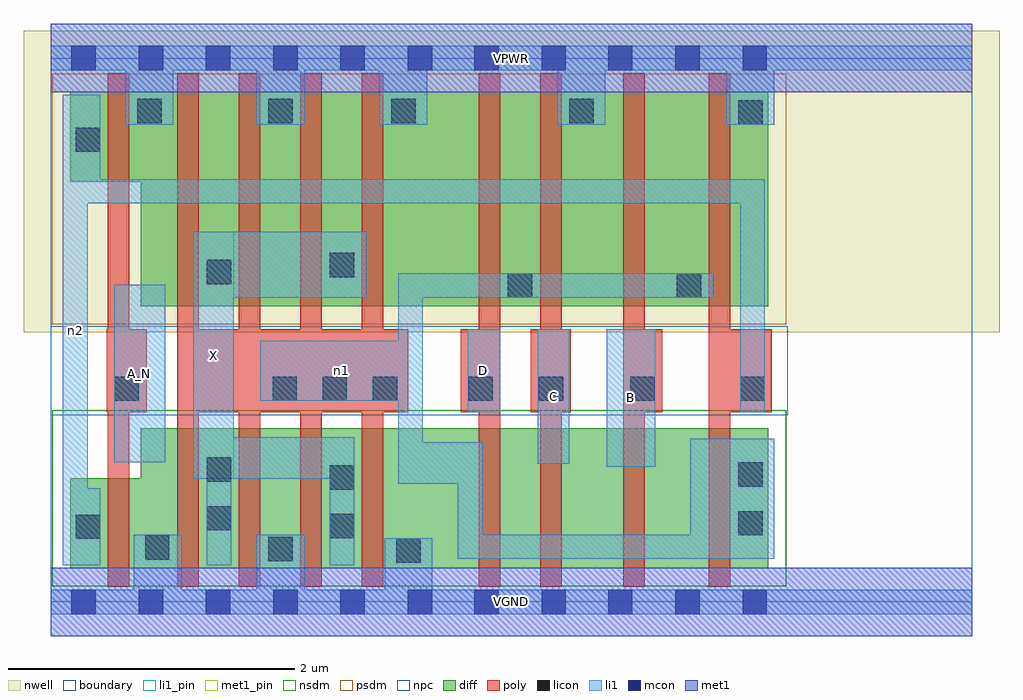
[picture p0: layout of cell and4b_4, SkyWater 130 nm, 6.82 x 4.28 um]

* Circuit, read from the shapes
.subckt and4b_4 A_N B C D VGND VPWR X n1 n2
XM1 VGND A_N n2 VSUBS sky130_fd_pr__nfet_01v8 w=0.63 l=0.15
XM2 X n1 VGND VSUBS sky130_fd_pr__nfet_01v8 w=0.98 l=0.15 m=4
XM3 n3 D VGND VSUBS sky130_fd_pr__nfet_01v8 w=0.98 l=0.15
XM4 n4 C n3 VSUBS sky130_fd_pr__nfet_01v8 w=0.98 l=0.15
XM5 n5 B n4 VSUBS sky130_fd_pr__nfet_01v8 w=0.98 l=0.15
XM6 n1 n2 n5 VSUBS sky130_fd_pr__nfet_01v8 w=0.98 l=0.15
XM7 VPWR A_N n2 n6 sky130_fd_pr__pfet_01v8 w=0.63 l=0.15
XM8 X n1 VPWR n6 sky130_fd_pr__pfet_01v8 w=1.5 l=0.15 m=4
XM9 n1 D VPWR n6 sky130_fd_pr__pfet_01v8 w=1.5 l=0.15
XM10 VPWR C n1 n6 sky130_fd_pr__pfet_01v8 w=1.5 l=0.15
XM11 n1 B VPWR n6 sky130_fd_pr__pfet_01v8 w=1.5 l=0.15
XM12 VPWR n2 n1 n6 sky130_fd_pr__pfet_01v8 w=1.5 l=0.15
.ends

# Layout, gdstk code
import gdstk
lib = gdstk.Library(unit=1e-6, precision=1e-09)
def R(c, l, rs):  # rectangles x0, y0, x1, y1
    for r in rs: c.add(gdstk.rectangle(r[:2], r[2:], *l))
def A(c, l, x, y, w, h, nx, ny, dx, dy):  # array of equal rectangles
    R(c, l, [(x+i*dx, y+j*dy, x+i*dx+w, y+j*dy+h) for i in range(nx) for j in range(ny)])
nwell = (64, 20)
diff = (65, 20)
poly = (66, 20)
licon = (66, 44)
li1_pin = (67, 16)
li1 = (67, 20)
mcon = (67, 44)
met1_pin = (68, 16)
met1 = (68, 20)
nsdm = (93, 44)
psdm = (94, 20)
npc = (95, 20)
boundary = (235, 4)

and4b_4 = lib.new_cell('and4b_4')
R(and4b_4, nwell, [(-0.19,1.885,6.63,3.99), (0,1.885,6.44,3.99)])
R(and4b_4, diff, [(0.135,0.235,5.015,0.865), (0.63,0.235,5.015,1.215), (0.63,2.065,5.015,3.565), (0.135,2.935,5.015,3.565)])
A(and4b_4, poly, 0.885, 0.105, 0.15, 3.59, 4, 1, 0.43, 0)
R(and4b_4, poly, [(0.4,0.105,0.55,3.695), (2.99,0.105,3.14,3.695), (3.42,0.105,3.57,3.695), (4,0.105,4.15,3.695), (4.6,0.105,4.75,3.695), (0.39,1.325,0.67,1.905), (0.885,1.325,2.5,1.905), (2.865,1.325,3.14,1.905), (3.355,1.325,3.635,1.905), (4,1.325,4.275,1.905), (4.6,1.325,5.04,1.905)])
A(and4b_4, licon, 1.55, 1.405, 0.17, 0.17, 3, 1, 0.35, 0)
R(and4b_4, licon, [(2.415,0.275,2.585,0.445), (1.52,0.285,1.69,0.455), (0.66,0.295,0.83,0.465), (0.175,0.44,0.345,0.61), (1.95,0.445,2.12,0.615), (4.805,0.465,4.975,0.635), (1.09,0.5,1.26,0.67), (1.95,0.785,2.12,0.955), (4.805,0.805,4.975,0.975), (1.09,0.84,1.26,1.01), (0.445,1.405,0.615,1.575), (2.92,1.405,3.09,1.575), (3.41,1.405,3.58,1.575), (4.05,1.405,4.22,1.575), (4.82,1.405,4.99,1.575), (3.195,2.125,3.365,2.295), (4.375,2.125,4.545,2.295), (1.09,2.22,1.26,2.39), (1.95,2.27,2.12,2.44), (0.175,3.145,0.345,3.315), (4.805,3.335,4.975,3.505), (0.605,3.345,0.775,3.515), (1.52,3.345,1.69,3.515), (2.38,3.345,2.55,3.515), (3.625,3.345,3.795,3.515)])
R(and4b_4, li1_pin, [(0.995,0.86,1.28,2.585), (3.885,0.945,4.225,1.905), (3.405,0.965,3.625,1.905), (0.445,0.975,0.8,2.215), (2.915,1.325,3.14,1.905)])
R(and4b_4, li1, [(0,-0.085,6.44,0.085), (0.58,-0.085,0.915,0.47), (1.435,-0.085,1.775,0.47), (2.335,-0.085,2.665,0.445), (0.085,0.255,0.26,3.545), (0.085,0.255,0.345,0.795), (1.09,0.255,1.26,2.585), (1.95,0.255,2.12,1.15), (2.845,0.3,5.055,0.47), (2.845,0.3,3.02,1.115), (4.47,0.3,5.055,1.14), (2.43,0.825,2.6,2.295), (2.43,0.825,3.02,1.115), (0.995,0.86,1.28,2.585), (0.995,0.86,2.12,1.15), (3.885,0.945,4.225,1.905), (3.405,0.965,3.625,1.905), (0.445,0.975,0.8,2.215), (2.915,1.325,3.14,1.905), (4.82,1.325,4.99,2.955), (1.465,1.405,2.6,1.825), (0.995,2.125,2.205,2.585), (2.43,2.125,4.63,2.295), (0.085,2.785,4.99,2.955), (0.085,2.785,0.345,3.545), (0.52,3.335,0.855,3.885), (1.435,3.335,1.775,3.885), (2.295,3.335,2.63,3.885), (3.54,3.335,3.875,3.885), (4.72,3.335,5.055,3.885), (0,3.715,6.44,3.885)])
A(and4b_4, mcon, 0.145, -0.085, 0.17, 0.17, 6, 2, 0.47, 3.8)
A(and4b_4, mcon, 3.895, -0.085, 0.17, 0.17, 3, 2, 0.47, 3.8)
R(and4b_4, mcon, [(2.96,-0.085,3.13,0.085), (3.43,-0.085,3.6,0.085), (2.96,3.715,3.13,3.885), (3.43,3.715,3.6,3.885)])
R(and4b_4, met1_pin, [(0,-0.24,6.44,0.24), (0,3.56,6.44,4.04)])
R(and4b_4, met1, [(0,-0.24,6.44,0.24), (0,3.56,6.44,4.04)])
R(and4b_4, nsdm, [(0.01,0.11,5.14,1.34)])
R(and4b_4, psdm, [(0.01,1.94,5.14,3.69)])
R(and4b_4, npc, [(0,1.305,5.15,1.925)])
R(and4b_4, boundary, [(0,0,6.44,3.8)])
and4b_4.add(gdstk.Label('A_N', (0.622,1.595), layer=67, texttype=5))
and4b_4.add(gdstk.Label('B', (4.055,1.425), layer=67, texttype=5))
and4b_4.add(gdstk.Label('C', (3.515,1.435), layer=67, texttype=5))
and4b_4.add(gdstk.Label('D', (3.027,1.615), layer=67, texttype=5))
and4b_4.add(gdstk.Label('X', (1.137,1.722), layer=67, texttype=5))
and4b_4.add(gdstk.Label('n1', (2.032,1.615), layer=67, texttype=5))
and4b_4.add(gdstk.Label('n2', (0.172,1.9), layer=67, texttype=5))
and4b_4.add(gdstk.Label('VPWR', (3.22,3.8), layer=68, texttype=5))
and4b_4.add(gdstk.Label('VGND', (3.22,0), layer=68, texttype=5))
and4b_4.add(gdstk.Label('A_N', (0.622,1.595), layer=67, texttype=16))
and4b_4.add(gdstk.Label('B', (4.055,1.425), layer=67, texttype=16))
and4b_4.add(gdstk.Label('C', (3.515,1.435), layer=67, texttype=16))
and4b_4.add(gdstk.Label('D', (3.027,1.615), layer=67, texttype=16))
and4b_4.add(gdstk.Label('X', (1.137,1.722), layer=67, texttype=16))
and4b_4.add(gdstk.Label('VPWR', (3.22,3.8), layer=68, texttype=16))
and4b_4.add(gdstk.Label('VGND', (3.22,0), layer=68, texttype=16))

lib.write_gds('and4b_4.gds')
